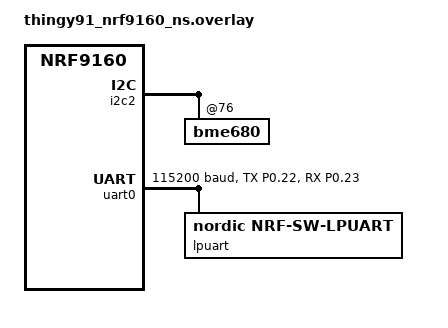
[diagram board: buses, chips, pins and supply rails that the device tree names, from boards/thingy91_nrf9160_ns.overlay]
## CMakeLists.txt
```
#
# Copyright (c) 2022 Nordic Semiconductor ASA
#
# SPDX-License-Identifier: LicenseRef-Nordic-5-Clause
#

cmake_minimum_required(VERSION 3.20.0)

find_package(Zephyr REQUIRED HINTS $ENV{ZEPHYR_BASE})
project(nrf_cloud_multi_service)
zephyr_compile_definitions(PROJECT_NAME=${PROJECT_NAME})

# Include certs files if enabled.
zephyr_include_directories_ifdef(CONFIG_NRF_CLOUD_PROVISION_CERTIFICATES certs)

# NORDIC SDK APP START
target_sources(app PRIVATE src/main.c)
target_sources(app PRIVATE src/application.c)
target_sources(app PRIVATE src/cloud_connection.c)
target_sources(app PRIVATE src/message_queue.c)
target_sources(app PRIVATE src/temperature.c)
target_sources(app PRIVATE src/fota_support.c)
target_sources(app PRIVATE src/led_control.c)
target_sources(app PRIVATE src/ble.c)
if(CONFIG_LOCATION_TRACKING)
target_sources(app PRIVATE src/location_tracking.c)
endif()

if(CONFIG_COAP_SHADOW)
target_sources(app PRIVATE src/shadow_support_coap.c)
endif()

if(CONFIG_COAP_FOTA)
target_sources(app PRIVATE src/fota_support_coap.c)
endif()

# Include modem-specific features if supported
if(CONFIG_NRF_MODEM_LIB)
	target_sources(app PRIVATE src/at_commands.c)
endif()

# NORDIC SDK APP END

zephyr_include_directories(src)
```

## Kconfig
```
#
# Copyright (c) 2022 Nordic Semiconductor ASA
#
# SPDX-License-Identifier: LicenseRef-Nordic-5-Clause
#

menu "UDP Sample Settings"

config UDP_DATA_UPLOAD_SIZE_BYTES
	int "Number of bytes transmitted to the server"
	default 10

config UDP_DATA_UPLOAD_FREQUENCY_SECONDS
	int "How often data is transmitted to the server"
	default 900

config UDP_SERVER_ADDRESS_STATIC
	string "UDP server IP address"
	default "8.8.8.8"

config UDP_SERVER_PORT
	int "UDP server port number"
	default "2469"

config UDP_PSM_ENABLE
	bool "Enable LTE Power Saving Mode"
	default y

config UDP_EDRX_ENABLE
	bool "Enable LTE enhanced Discontinuous Reception"

config UDP_RAI_ENABLE
	bool "Enable LTE Release Assistance Indication"

endmenu

module = UDP
module-str = UDP sample



menu "Multi Service Sample Settings"

config APP_VERSION
	string "Multi Service Sample version"
	default "1.0.0"

config CLOUD_CONNECTION_RETRY_TIMEOUT_SECONDS
	int "Cloud connection retry timeout (seconds)"
	default 30
	help
	  If connecting to nRF Cloud takes longer than this timeout, it will be
	  reattempted.

config CLOUD_READY_TIMEOUT_SECONDS
	int "Cloud readiness timeout (seconds)"
	default 600
	help
	  If the connection to nRF Cloud does not become ready within this
	  timeout, the sample will reset its connection and try again.

config DATE_TIME_ESTABLISHMENT_TIMEOUT_SECONDS
	int "Modem date and time establishment timeout (seconds)"
	default 300
	help
	  The sample will wait this many seconds for the modem to determine the
	  current date and time before giving up and moving on.

config APPLICATION_THREAD_STACK_SIZE
	int "Application Thread Stack Size (bytes)"
	default 2048
	help
	  Sets the stack size (in bytes) for the application thread of the
	  sample.

config CONNECTION_THREAD_STACK_SIZE
	int "Connection Thread Stack Size (bytes)"
	default 2048
	help
	  Sets the stack size (in bytes) for the connection thread of the
	  sample.

config MESSAGE_THREAD_STACK_SIZE
	int "Message Queue Thread Stack Size (bytes)"
	default 2048
	help
	  Sets the stack size (in bytes) for the message queue processing
	  thread of the sample.

config LED_THREAD_STACK_SIZE
	int "LED Thread Stack Size (bytes)"
	default 1024
	help
	  Sets the stack size (in bytes) for the LED thread.

config MAX_OUTGOING_MESSAGES
	int "Outgoing message maximum"
	default 50
	help
	  Sets the maximum number of device messages which may be enqueued
	  before further messages are dropped.
	  Increasing this value may require an increase to CONFIG_HEAP_MEM_POOL_SIZE.

config MAX_CONSECUTIVE_SEND_FAILURES
	int "Max outgoing consecutive send failures"
	default 5
	help
	  Sets the maximum number of device messages which may fail to send
	  before a connection reset and cooldown is triggered.

config CONSECUTIVE_SEND_FAILURE_COOLDOWN_SECONDS
	int "Cooldown after max consecutive send failures exceeded"
	default 10
	help
	  If a connection reset is triggered by too many failed device
	  messages, the sample will wait this long (in seconds) before trying
	  again.

config SENSOR_SAMPLE_INTERVAL_SECONDS
	int "Sensor sampling interval (seconds)"
	default 60
	help
	  Sets the time to wait between each sensor sample.

menuconfig LOCATION_TRACKING
	bool "Location tracking service"
	default y
	help
	  Uses GNSS, LTE, and/or Wi-Fi information to determine and report device
	  location.

if LOCATION_TRACKING

config LOCATION_TRACKING_SAMPLE_INTERVAL_SECONDS
	int "Location sampling interval (seconds)"
	default 60
	help
	  Sets the location sampling interval in seconds.

config LOCATION_TRACKING_GNSS
	bool "Use GNSS method for location tracking"
	default y
	depends on LOCATION_METHOD_GNSS
	help
	  Disable all location tracking methods to completely disable location tracking.

config LOCATION_TRACKING_CELLULAR
	bool "Use cellular method for location tracking"
	default y
	depends on LOCATION_METHOD_CELLULAR
	help
	  Disable all location tracking methods to completely disable location tracking.

config LOCATION_TRACKING_WIFI
	bool "Use Wi-Fi method for location tracking"
	default n
	depends on LOCATION_METHOD_WIFI
	help
	  Requires the use of an nRF7002 companion chip.
	  Disable all location tracking methods to completely disable location tracking.

endif

config TEMP_DATA_USE_SENSOR
	bool "Use genuine temperature data"
	depends on BOARD_THINGY91_NRF9160_NS
	default y if BOARD_THINGY91_NRF9160_NS
	select SENSOR
	select BME680
	help
	  Sets whether to take genuine temperature measurements from a
	  connected BME680 sensor, or just simulate sensor data.

config TEMP_TRACKING
	bool "Track temperature"
	default y
	help
	  Sets whether to take temperature measurements.

config TEMP_ALERT_LIMIT
	int "Temperature limit to send alert"
	default 30
	help
	  Sets the temperature in degrees C over which a temperature alert will
	  be sent to the cloud.

choice
	prompt "LED indication"
	default LED_INDICATION_PWM if BOARD_THINGY91_NRF9160_NS
	default LED_INDICATION_GPIO if BOARD_NRF9160DK_NRF9160_NS || BOARD_NRF9161DK_NRF9161_NS || $(dt_compat_enabled,gpio-leds)
	default LED_INDICATION_DISABLED

	config LED_INDICATION_PWM
		select LED
		select LED_PWM
		select PWM
		bool "Enable LED indication using the pwm-leds driver"

	config LED_INDICATION_GPIO
		select LED
		select LED_GPIO
		bool "Enable LED indication using the gpio-leds driver"

	config LED_INDICATION_DISABLED
		bool "Disable LED indication"
endchoice

choice
	prompt "LED indication LED type"
	depends on !LED_INDICATION_DISABLED
	default LED_INDICATOR_RGB if BOARD_THINGY91_NRF9160_NS && LED_INDICATION_PWM
	default LED_INDICATOR_4LED if !LED_INDICATION_DISABLED
	default LED_INDICATOR_NONE

	config LED_INDICATOR_RGB
		depends on LED_INDICATION_PWM
		bool "A single RGB LED"

	config LED_INDICATOR_4LED
		depends on !LED_INDICATION_DISABLED
		bool "Four binary LEDs"

	config LED_INDICATOR_NONE
		depends on LED_INDICATION_DISABLED
		bool "No indicator LEDs"

endchoice

config LED_VERBOSE_INDICATION
	depends on !LED_INDICATION_DISABLED
	bool "Enables extra LED status indications"
	default y

config LED_CONTINUOUS_INDICATION
	depends on !LED_INDICATION_DISABLED
	bool "Show an idle pattern instead of turning LEDs off"
	default y

config GNSS_FIX_TIMEOUT_SECONDS
	int "GNSS Fix timeout"
	default 40
	help
	  On each location sample, try for this long to achieve a GNSS fix
	  before falling back to cellular positioning.
	  Set this to 20 or so seconds below the sensor sample interval so
	  that there is time left over to perform cellular positioning.
	  Otherwise, location samples may occur at a longer interval than
	  requested.

config TEST_COUNTER
	bool "Sets whether the test counter is enabled"

config AT_CMD_REQUESTS
	depends on !NRF_CLOUD_COAP
	bool "Enables remote execution of AT commands using device messages"
	default y

config AT_CMD_REQUEST_RESPONSE_BUFFER_LENGTH
	int "Max length (in bytes) for Modem responses during AT command requests"
	help
	  Responses to modem AT commands are stored in a buffer of this length before being sent to
	  nRF Cloud. If a response from the modem exceeds this length, it will be dropped, and an
	  error code sent in its place (-NRF_E2BIG). Cannot be less than 40 bytes.
	default 200

if NRF_CLOUD_COAP

menuconfig COAP_FOTA
	bool "FOTA service when using CoAP to connect to nRF Cloud"
	select FOTA_DOWNLOAD
	select FOTA_DOWNLOAD_PROGRESS_EVT
	select IMG_ERASE_PROGRESSIVELY
	select DFU_TARGET
	select DOWNLOAD_CLIENT
	select REBOOT
	select CJSON_LIB
	select SETTINGS
	default y

if COAP_FOTA

config COAP_FOTA_DL_TIMEOUT_MIN
	int "The time (minutes) allotted for a FOTA download to complete"
	default 15
	help
	  If the FOTA download does not complete in the allotted time,
	  the download will be cancelled and the job status will be
	  set as failed.

config COAP_FOTA_USE_NRF_CLOUD_SETTINGS_AREA
	bool "Use the same settings area as the nRF Cloud FOTA library"
	default y
	help
	  Using the same settings area as the nRF Cloud FOTA library will
	  allow this sample to perform application-FOTA updates to applications
	  built with CONFIG_NRF_CLOUD_FOTA enabled.

config COAP_FOTA_SETTINGS_NAME
	depends on !COAP_FOTA_USE_NRF_CLOUD_SETTINGS_AREA
	string "Settings identifier for the COAP FOTA sample"
	default "coap_fota_sample"
	help
	  The root settings identifier for this application.
	  For application-FOTA, this value should also be found in your target application
	  so that the FOTA status can be properly reported to nRF Cloud.

config COAP_FOTA_SETTINGS_KEY_PENDING_JOB
	depends on !COAP_FOTA_USE_NRF_CLOUD_SETTINGS_AREA
	string "Settings item key for pending FOTA job info"
	default "pending_job"
	help
	  The settings item key where pending FOTA job info will be stored.
	  For application-FOTA, this value should also be found in your target application
	  so that the FOTA status can be properly reported to nRF Cloud.

config COAP_FOTA_JOB_CHECK_RATE_MINUTES
	int "FOTA job check interval (minutes)"
	default 60
	help
	  Sets the time to wait between each request to get any pending FOTA job.

config COAP_FOTA_THREAD_STACK_SIZE
	int "CoAP FOTA Thread Stack Size (bytes)"
	default 2048
	help
	  Sets the stack size (in bytes) for the CoAP FOTA thread of the
	  sample.

endif

menuconfig COAP_SHADOW
	bool "Updating shadow service"
	default y
	help
	  Updates the shadow with device information. Checks for a shadow
	  delta periodically and processes it if received.

if COAP_SHADOW

config COAP_SHADOW_CHECK_RATE_SECONDS
	int "Shadow job check interval (seconds)"
	default 300
	help
	  Sets the time to wait between each request to get any change to the
	  device shadow.

config COAP_SHADOW_THREAD_STACK_SIZE
	int "CoAP Shadow Thread Stack Size (bytes)"
	default 3072
	help
	  Sets the stack size (in bytes) for the CoAP shadow thread of the
	  sample.

endif

endif

endmenu

if NRF_CLOUD_MQTT
module-str = MQTT Multi Service
endif
if NRF_CLOUD_COAP
module-str = CoAP Multi Service
endif
module = MULTI_SERVICE
source "${ZEPHYR_BASE}/subsys/logging/Kconfig.template.log_config"

menu "Zephyr Kernel"
source "Kconfig.zephyr"
endmenu
```

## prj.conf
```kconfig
#
# Copyright (c) 2022 Nordic Semiconductor ASA
#
# SPDX-License-Identifier: LicenseRef-Nordic-5-Clause
#

# Log level
# For more verbose and detailed log output, set the log level to
# CONFIG_MULTI_SERVICE_LOG_LEVEL_DBG=y instead.
CONFIG_MULTI_SERVICE_LOG_LEVEL_INF=y

# General config
CONFIG_EVENTS=y
CONFIG_PICOLIBC_IO_FLOAT=y
CONFIG_RESET_ON_FATAL_ERROR=y
CONFIG_NCS_SAMPLES_DEFAULTS=y

# LED indication
# Uncomment these to minimize LED state indication when power savings are necessary
# CONFIG_LED_VERBOSE_INDICATION=n
# CONFIG_LED_CONTINUOUS_INDICATION=n

# Or, uncomment this to completely disable LED state indication
# CONFIG_LED_INDICATION_DISABLED=y

# Improved Logging
# CONFIG_LOG_MODE_DEFERRED allows logging from multiple threads simultaneously without creating
# splintered log entries, at the cost of needing a buffer for storing logs.
CONFIG_LOG_MODE_DEFERRED=y

# CONFIG_LOG_BUFFER_SIZE is the aforementioned buffer. A size of 4096 bytes is useful for debugging
# and prototyping, but is probably more than necessary for production-ready firmware.
CONFIG_LOG_BUFFER_SIZE=4096

# Heap and stacks
CONFIG_AT_MONITOR_HEAP_SIZE=1024
# Extended memory heap size needed both for PGPS and for encoding JSON-based nRF Cloud Device Messages.
CONFIG_HEAP_MEM_POOL_SIZE=24576
CONFIG_SYSTEM_WORKQUEUE_STACK_SIZE=3072

# Enable Networking and Connection Manager.
CONFIG_NETWORKING=y
CONFIG_NET_SOCKETS=y
CONFIG_NET_SOCKETS_OFFLOAD=y
CONFIG_NET_MGMT_EVENT_STACK_SIZE=2048
CONFIG_NET_CONNECTION_MANAGER_MONITOR_STACK_SIZE=1024
CONFIG_MAIN_STACK_SIZE=2048

# Enable LTE Connectivity using Connection Manager
CONFIG_NET_IPV4=y
CONFIG_NET_IPV6=y
CONFIG_NET_IPV6_NBR_CACHE=n
CONFIG_NET_IPV6_MLD=n
CONFIG_NET_CONNECTION_MANAGER=y
CONFIG_LTE_CONNECTIVITY=y
CONFIG_NRF_MODEM_LIB_ON_FAULT_APPLICATION_SPECIFIC=y
# Enable power savings mode
CONFIG_LTE_PSM_REQ=y

# Modem library
CONFIG_NRF_MODEM_LIB=y

# AT commands interface
CONFIG_UART_INTERRUPT_DRIVEN=y
CONFIG_AT_HOST_LIBRARY=y

# nRF Cloud
CONFIG_NRF_CLOUD_MQTT=y # This also enables FOTA by implicitly setting CONFIG_NRF_CLOUD_FOTA=y

# MQTT
CONFIG_MQTT_KEEPALIVE=120

# MCUBOOT - Needed by FOTA
CONFIG_BOOTLOADER_MCUBOOT=y
CONFIG_IMG_MANAGER=y
CONFIG_MCUBOOT_IMG_MANAGER=y
CONFIG_STREAM_FLASH_ERASE=y

# Location Services configuration
CONFIG_LOCATION=y
CONFIG_LOCATION_METHOD_GNSS=y
CONFIG_LOCATION_METHOD_CELLULAR=n
CONFIG_NRF_CLOUD_AGNSS=n
CONFIG_NRF_CLOUD_LOCATION=y
CONFIG_MODEM_INFO=y
CONFIG_MODEM_INFO_ADD_NETWORK=y
CONFIG_NRF_CLOUD_PGPS=n
CONFIG_NRF_CLOUD_PGPS_REPLACEMENT_THRESHOLD=4
CONFIG_NRF_CLOUD_PGPS_REQUEST_UPON_INIT=y

# Date Time lib - Used by PGPS and main application
CONFIG_DATE_TIME=y

# LTE link control - used by PGPS and main application
CONFIG_LTE_LINK_CONTROL=y
CONFIG_LTE_NETWORK_MODE_LTE_M_GPS=y

# Settings - used by nRF Cloud library and PGPS
CONFIG_SETTINGS=y
CONFIG_SETTINGS_FCB=y
CONFIG_FCB=y

# Download Client - used by FOTA and PGPS
CONFIG_DOWNLOAD_CLIENT=y
CONFIG_DOWNLOAD_CLIENT_HTTP_FRAG_SIZE_1024=y
CONFIG_DOWNLOAD_CLIENT_STACK_SIZE=4096
CONFIG_DOWNLOAD_CLIENT_BUF_SIZE=2300
CONFIG_DOWNLOAD_CLIENT_MAX_HOSTNAME_SIZE=128

# Flash - Used by FOTA and PGPS
CONFIG_FLASH=y
CONFIG_FLASH_PAGE_LAYOUT=y
CONFIG_FLASH_MAP=y
CONFIG_STREAM_FLASH=y
CONFIG_MPU_ALLOW_FLASH_WRITE=y
CONFIG_PM_EXTERNAL_FLASH_MCUBOOT_SECONDARY=n
CONFIG_NRF_CLOUD_ALERT=y
CONFIG_NRF_CLOUD_LOG_DIRECT=y
CONFIG_NRF_CLOUD_LOG_BACKEND=y
CONFIG_NRF_CLOUD_LOG_OUTPUT_LEVEL=2
CONFIG_NRF_CLOUD_SEND_DEVICE_STATUS=y
CONFIG_NRF_CLOUD_SEND_DEVICE_STATUS_NETWORK=y
CONFIG_NRF_CLOUD_SEND_DEVICE_STATUS_SIM=y


## PSM
CONFIG_UDP_PSM_ENABLE=y
CONFIG_LTE_PSM_REQ_RPTAU="00100001"
CONFIG_LTE_PSM_REQ_RAT="00000000"

## eDRX
CONFIG_UDP_EDRX_ENABLE=n
CONFIG_LTE_EDRX_REQ_VALUE_LTE_M="1001"

## RAI
CONFIG_UDP_RAI_ENABLE=n
CONFIG_LTE_RAI_REQ_VALUE="4"

CONFIG_UDP_SERVER_ADDRESS_STATIC="X.X.X.X"
CONFIG_UDP_SERVER_PORT=XXXXX
CONFIG_UDP_DATA_UPLOAD_FREQUENCY_SECONDS=120
CONFIG_MODEM_ANTENNA_AT_MAGPIO="AT%XMAGPIO=1,1,1,7,1,746,803,2,698,748,2,1710,2200,3,824,894,4,880,960,5,791,849,7,1565,1586"
CONFIG_MODEM_ANTENNA_AT_COEX0="AT%XCOEX0=1,1,1565,1586"
#CONFIG_NEWLIB_LIBC_MIN_REQUIRED_HEAP_SIZE=2048
CONFIG_LED_INDICATION_DISABLED=y
#CONFIG_POWER_SAVING_MODE_ENABLE=y
#CONFIG_TFM_PROFILE_TYPE_MINIMAL=n


# Enable Bluetooth stack and libraries
CONFIG_BT=y
CONFIG_BT_HCI=y
CONFIG_BT_WAIT_NOP=y
CONFIG_BT_CENTRAL=y
CONFIG_BT_GATT_CLIENT=y
CONFIG_BT_GATT_DM=y
CONFIG_BT_SCAN=y
CONFIG_BT_SCAN_FILTER_ENABLE=y
CONFIG_BT_SCAN_UUID_CNT=1
CONFIG_BT_OBSERVER=y
CONFIG_BT_FILTER_ACCEPT_LIST=y


CONFIG_NRF_MODEM_LIB=y
# Modem library fault handling
CONFIG_NRF_MODEM_LIB_ON_FAULT_APPLICATION_SPECIFIC=y

# Disable Modem traces, since we need UART1 for HCI
#CONFIG_NRF_MODEM_LIB_TRACE=n

CONFIG_USE_SEGGER_RTT=y
CONFIG_RTT_CONSOLE=y
CONFIG_LOG_BACKEND_RTT=y
CONFIG_AT_HOST_LIBRARY=n
CONFIG_NRF_MODEM_LIB_ON_FAULT_APPLICATION_SPECIFIC=y
CONFIG_DK_LIBRARY=y
# Modem library
CONFIG_NRF_MODEM_LIB=y
# Modem library fault handling
CONFIG_NRF_MODEM_LIB_ON_FAULT_APPLICATION_SPECIFIC=y

# Disable Modem traces, since we need UART1 for HCI
CONFIG_NRF_MODEM_LIB_TRACE=n

CONFIG_BT_SCAN_SHORT_NAME_CNT=4


CONFIG_NRF_SW_LPUART=y
CONFIG_NRF_SW_LPUART_INT_DRIVEN=y

CONFIG_UART_0_ASYNC=y
CONFIG_UART_0_INTERRUPT_DRIVEN=n
CONFIG_UART_0_NRF_HW_ASYNC=y
CONFIG_UART_0_NRF_HW_ASYNC_TIMER=2
CONFIG_BT_MAX_PAIRED=20
CONFIG_LOCATION_TRACKING_SAMPLE_INTERVAL_SECONDS=3600
```

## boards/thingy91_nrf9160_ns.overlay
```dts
/ {
	aliases {
		temp-sensor = &bme680;
	};
};

&i2c2 {
	bme680: bme680@76 {};
};


/ {
	chosen {
		zephyr,bt-uart=&lpuart;
	};
};

&uart0 {
	current-speed = <115200>;
	status = "okay";
	/delete-property/ hw-flow-control;

	pinctrl-0 = <&uart0_default_alt>;
	pinctrl-1 = <&uart0_sleep_alt>;
	pinctrl-names = "default", "sleep";
	lpuart: nrf-sw-lpuart {
		compatible = "nordic,nrf-sw-lpuart";
		status = "okay";
		req-pin = <24>;
		rdy-pin = <25>;
	};
};

&gpiote {
	interrupts = <49 NRF_DEFAULT_IRQ_PRIORITY>;
};

&uart1 {
	status = "disabled";
};

&pinctrl {
	uart0_default_alt: uart0_default_alt {
		group1 {
			psels = <NRF_PSEL(UART_TX, 0, 22)>, <NRF_PSEL(UART_RX, 0, 23)>;
		};
	};

	uart0_sleep_alt: uart0_sleep_alt {
		group1 {
			psels = <NRF_PSEL(UART_TX, 0, 22)>, <NRF_PSEL(UART_RX, 0, 23)>;
			low-power-enable;
		};
	};
};
```

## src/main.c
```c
/* Copyright (c) 2023 Nordic Semiconductor ASA
 *
 * SPDX-License-Identifier: LicenseRef-Nordic-5-Clause
 */

#include <zephyr/kernel.h>
#include <stdio.h>
#include <zephyr/logging/log.h>
#include "application.h"
#include "cloud_connection.h"
#include "message_queue.h"
#include "led_control.h"
#include "fota_support_coap.h"
#include "shadow_support_coap.h"

LOG_MODULE_REGISTER(main, CONFIG_MULTI_SERVICE_LOG_LEVEL);

/* Here, we start the various threads that our application will run in */

//#ifndef CONFIG_LED_INDICATION_DISABLED
/* Define, and automatically start the LED animation thread. See led_control.c */
//K_THREAD_DEFINE(led_thread, CONFIG_LED_THREAD_STACK_SIZE, led_animation_thread_fn,
//		NULL, NULL, NULL, 0, 0, 0);
//#endif

/* Define, and automatically start the main application thread. See application.c */
K_THREAD_DEFINE(app_thread, CONFIG_APPLICATION_THREAD_STACK_SIZE, main_application_thread_fn,
		NULL, NULL, NULL, 0, 0, 0);

/* Define, and automatically start the message queue thread. See message_queue.c */
K_THREAD_DEFINE(msg_thread, CONFIG_MESSAGE_THREAD_STACK_SIZE, message_queue_thread_fn,
		NULL, NULL, NULL, 0, 0, 0);

/* Define, and automatically start the cloud connection thread. See cloud_connection.c */
K_THREAD_DEFINE(con_thread, CONFIG_CONNECTION_THREAD_STACK_SIZE, cloud_connection_thread_fn,
		NULL, NULL, NULL, 0, 0, 0);

#if defined(CONFIG_NRF_CLOUD_COAP)
#if defined(CONFIG_COAP_FOTA)
/* Define, and automatically start the CoAP FOTA check thread. See fota_support_coap.c */
K_THREAD_DEFINE(coap_fota, CONFIG_COAP_FOTA_THREAD_STACK_SIZE, coap_fota_thread_fn,
		NULL, NULL, NULL, 0, 0, 0);
#endif

#if defined(CONFIG_COAP_SHADOW)
/* Define, and automatically start the CoAP shadow check thread. See shadow_support_coap.c */
K_THREAD_DEFINE(coap_shadow, CONFIG_COAP_SHADOW_THREAD_STACK_SIZE, coap_shadow_thread_fn,
		NULL, NULL, NULL, 0, 0, 0);
#endif
#endif /* CONFIG_NRF_CLOUD_COAP */

/* main() is called from the main thread, which defaults to priority zero,
 * but for illustrative purposes we don't use it. main_application() could be called directly
 * from this function, rather than given its own dedicated thread.
 */
int main(void)
{
	const char *protocol;

	if (IS_ENABLED(CONFIG_NRF_CLOUD_MQTT)) {
		protocol = "MQTT";
	} else if (IS_ENABLED(CONFIG_NRF_CLOUD_COAP)) {
		protocol = "CoAP";
	}

	LOG_INF("nRF Cloud multi-service sample has started, version: %s, protocol: %s",
		CONFIG_APP_VERSION, protocol);

	return 0;
}
```

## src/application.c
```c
/* Copyright (c) 2023 Nordic Semiconductor ASA
 *
 * SPDX-License-Identifier: LicenseRef-Nordic-5-Clause
 */

#include <zephyr/kernel.h>
#include <zephyr/logging/log.h>
#include <zephyr/logging/log_ctrl.h>
#include <date_time.h>
#include <stdio.h>
#include <net/nrf_cloud.h>
#include <net/nrf_cloud_codec.h>
#include <net/nrf_cloud_log.h>
#include <net/nrf_cloud_alert.h>
#if defined(CONFIG_NRF_CLOUD_COAP)
#include <net/nrf_cloud_coap.h>
#endif
#if defined(CONFIG_LOCATION_TRACKING)
#include <modem/location.h>
#include "location_tracking.h"
#endif
#include "application.h"
#include "temperature.h"
#include "cloud_connection.h"
#include "message_queue.h"
#include "led_control.h"
#include "at_commands.h"



#include <zephyr/net/socket.h>
#include <zephyr/bluetooth/bluetooth.h>
#include <zephyr/bluetooth/gatt.h>
#include <zephyr/bluetooth/uuid.h>
#include <bluetooth/gatt_dm.h>
#include <bluetooth/scan.h>

LOG_MODULE_REGISTER(application, CONFIG_MULTI_SERVICE_LOG_LEVEL);

/* Timer used to time the sensor sampling rate. */
static K_TIMER_DEFINE(sensor_sample_timer, NULL, NULL);

/* AT command request error handling */
#define AT_CMD_REQUEST_ERR_FORMAT "Error while processing AT command request: %d"
#define AT_CMD_REQUEST_ERR_MAX_LEN (sizeof(AT_CMD_REQUEST_ERR_FORMAT) + 20)
BUILD_ASSERT(CONFIG_AT_CMD_REQUEST_RESPONSE_BUFFER_LENGTH >= AT_CMD_REQUEST_ERR_MAX_LEN,
	     "Not enough AT command response buffer for printing error events.");

/* Temperature alert limits. */
#define TEMP_ALERT_LIMIT ((float)CONFIG_TEMP_ALERT_LIMIT)
#define TEMP_ALERT_HYSTERESIS 1.5f
#define TEMP_ALERT_LOWER_LIMIT (TEMP_ALERT_LIMIT - TEMP_ALERT_HYSTERESIS)

#define UDP_IP_HEADER_SIZE 28


static int client_fd;
static struct sockaddr_storage host_addr;
static struct k_work_delayable server_transmission_work;
int16_t bat_voltage = 0;
int16_t modem_rsrp = 0;
int64_t timestamp;

struct subscribed_peer subscribed_peers[20];
double temp;

static int server_init(void)
{
	struct sockaddr_in *server4 = ((struct sockaddr_in *)&host_addr);

	server4->sin_family = AF_INET;
	server4->sin_port = htons(CONFIG_UDP_SERVER_PORT);

	inet_pton(AF_INET, CONFIG_UDP_SERVER_ADDRESS_STATIC,
		  &server4->sin_addr);


	return 0;
}

static void server_disconnect(void)
{
	(void)close(client_fd);
}


static int count_bond(void)
{
	//int i;
	int i;
	for (i = 0;i < 20; i++) {
		if (!bt_addr_le_cmp(&subscribed_peers[i].addr, BT_ADDR_LE_NONE)) {
			break;
		}
	//	LOG_INF("bonds: %d\n", j);

	}

	return i;
}

static int server_connect(void)
{
	int err;

	client_fd = socket(AF_INET, SOCK_DGRAM, IPPROTO_UDP);
	if (client_fd < 0) {
		LOG_ERR("Failed to create UDP socket: %d\n", errno);
		err = -errno;
		goto error;
	}

	err = connect(client_fd, (struct sockaddr *)&host_addr,
		      sizeof(struct sockaddr_in));
	if (err < 0) {
		LOG_ERR("Connect failed : %d\n", errno);
		goto error;
	}

	return 0;

error:
	server_disconnect();

	return err;
}



static void server_transmission_work_fn(struct k_work *work)
{
	int err;

	LOG_INF("Transmitting UDP/IP payload of %d bytes to the ",
	       CONFIG_UDP_DATA_UPLOAD_SIZE_BYTES + UDP_IP_HEADER_SIZE);
	LOG_INF("IP address %s, port number %d\n",
	       CONFIG_UDP_SERVER_ADDRESS_STATIC,
	       CONFIG_UDP_SERVER_PORT);

	int bonds=0;
	bonds = count_bond();
	LOG_INF("Num of bonds %d  ",bonds);

	err = modem_info_short_get(MODEM_INFO_BATTERY, &bat_voltage);
	if (err != sizeof(bat_voltage)) {
		LOG_ERR("modem_info_short_get, error: %d", err);
	}
	else
	{
		LOG_INF("Voltage is %d ", (int)bat_voltage);
		subscribed_peers[0].battery_voltage = bat_voltage;
	}
	err = modem_info_short_get(MODEM_INFO_RSRP, &modem_rsrp);
	if (err != sizeof(modem_rsrp)) {
		LOG_ERR("modem_info_short_get, error: %d", err);
	}
	else
	{
		LOG_INF("modem_rsrp is %d ", (int)modem_rsrp);
		subscribed_peers[0].rssi_value = modem_rsrp;
	}

	if (get_temperature(&temp) == 0) 
	{
		LOG_INF("Temperature is %d degrees C", (int)temp);
		subscribed_peers[0].temp_celsius = temp;

	}

	for (int i = 0; i < bonds; i++) 
	{
			if(i ==0)
			{
				int64_t uptime;
				uptime = k_uptime_get();
				//date_time_uptime_to_unix_time_ms(&uptime);
				subscribed_peers[i].has_timestamp = true;
				subscribed_peers[i].timestamp = uptime;

			}
			LOG_INF("Lenght is %d bytes ",sizeof(subscribed_peers[i]));
			err = send(client_fd, (struct subscribed_peer*)&subscribed_peers[i], sizeof(subscribed_peers[i]), 0);
			if (err < 0) 
			{
				LOG_ERR("Failed to transmit UDP packet, %d\n", errno);
			}
	}


	k_work_schedule(&server_transmission_work,
			K_SECONDS(CONFIG_UDP_DATA_UPLOAD_FREQUENCY_SECONDS));
}



/**
 * @brief Construct a device message object with automatically generated timestamp
 *
 * The resultant JSON object will be conformal to the General Message Schema described in the
 * application-protocols repo:
 *
 * https://github.com/nRFCloud/application-protocols
 *
 * @param msg - The object to contain the message
 * @param appid - The appId for the device message
 * @param msg_type - The messageType for the device message
 * @return int - 0 on success, negative error code otherwise.
 */
static int create_timestamped_device_message(struct nrf_cloud_obj *const msg,
					     const char *const appid,
					     const char *const msg_type)
{
	int err;
	int64_t timestamp;

	/* Acquire timestamp */
	err = date_time_now(&timestamp);
	if (err) {
		LOG_ERR("Failed to obtain current time, error %d", err);
		return -ETIME;
	}

	/* Create message object */
	err = nrf_cloud_obj_msg_init(msg, appid,
				     IS_ENABLED(CONFIG_NRF_CLOUD_COAP) ? NULL : msg_type);
	if (err) {
		LOG_ERR("Failed to initialize message with appid %s and msg type %s",
			appid, msg_type);
		return err;
	}

	/* Add timestamp to message object */
	err = nrf_cloud_obj_ts_add(msg, timestamp);
	if (err) {
		LOG_ERR("Failed to add timestamp to data message with appid %s and msg type %s",
			appid, msg_type);
		nrf_cloud_obj_free(msg);
		return err;
	}

	return 0;
}

/**
 * @brief Transmit a collected sensor sample to nRF Cloud.
 *
 * @param sensor - The name of the sensor which was sampled.
 * @param value - The sampled sensor value.
 * @return int - 0 on success, negative error code otherwise.
 */
static int send_sensor_sample(const char *const sensor, double value)
{
	int ret;

	MSG_OBJ_DEFINE(msg_obj);

	/* Create a timestamped message container object for the sensor sample. */
	ret = create_timestamped_device_message(&msg_obj, sensor,
						NRF_CLOUD_JSON_MSG_TYPE_VAL_DATA);
	if (ret) {
		return -EINVAL;
	}

	/* Populate the container object with the sensor value. */
	ret = nrf_cloud_obj_num_add(&msg_obj, NRF_CLOUD_JSON_DATA_KEY, value, false);
	if (ret) {
		LOG_ERR("Failed to append value to %s sample container object ",
			sensor);
		nrf_cloud_obj_free(&msg_obj);
		return -ENOMEM;
	}

	/* Send the sensor sample container object as a device message. */
	return send_device_message(&msg_obj);
}

#if defined(CONFIG_LOCATION_TRACKING)
/**
 * @brief Transmit a collected GNSS sample to nRF Cloud.
 *
 * @param loc_gnss - GNSS location data.
 * @return int - 0 on success, negative error code otherwise.
 */
static int send_gnss(const struct location_event_data * const loc_gnss)
{
	int ret;

	if (!loc_gnss || (loc_gnss->method != LOCATION_METHOD_GNSS)) {
		return -EINVAL;
	}

	struct nrf_cloud_gnss_data gnss_pvt = {
		.type = NRF_CLOUD_GNSS_TYPE_PVT,
		.ts_ms = NRF_CLOUD_NO_TIMESTAMP,
		.pvt = {
			.lon		= loc_gnss->location.longitude,
			.lat		= loc_gnss->location.latitude,
			.accuracy	= loc_gnss->location.accuracy,
			.has_alt	= 0,
			.has_speed	= 0,
			.has_heading	= 0
		}
	};
	MSG_OBJ_DEFINE(msg_obj);

	/* Add the timestamp */
	(void)date_time_now(&gnss_pvt.ts_ms);

	/* Encode the location data into a device message */
	ret = nrf_cloud_obj_gnss_msg_create(&msg_obj, &gnss_pvt);

	if (ret == 0) {
		/* Send the location message */
		ret = send_device_message(&msg_obj);
	}

	return ret;
}

/**
 * @brief Callback to receive periodic location updates from location_tracking.c and forward them
 * to nRF Cloud.
 *
 * Note that cellular positioning (MCELL/Multi-Cell and SCELL/Single-Cell) is sent to nRF
 * Cloud automatically (since the Location library and nRF Cloud must work together to
 * determine them in the first place). GNSS positions, on the other hand, must be
 * sent manually, since they are determined entirely on-device.
 *
 * @param location_data - The received location update.
 *
 */
static void on_location_update(const struct location_event_data * const location_data)
{
	LOG_INF("Location Updated: %.06f N %.06f W, accuracy: %.01f m, Method: %s",
		location_data->location.latitude,
		location_data->location.longitude,
		location_data->location.accuracy,
		location_method_str(location_data->method));

	/* If the position update was derived using GNSS, send it onward to nRF Cloud. */
	if (location_data->method == LOCATION_METHOD_GNSS) {
		LOG_INF("GNSS Position Update! Sending to nRF Cloud...");
		send_gnss(location_data);
	}
}
#endif /* CONFIG_LOCATION_TRACKING */

/**
 * @brief Receives general device messages from nRF Cloud, checks if they are AT command requests,
 * and performs them if so, transmitting the modem response back to nRF Cloud.
 *
 * Try sending {"appId":"MODEM", "messageType":"CMD", "data":"AT+CGMR"}
 * in the nRF Cloud Portal Terminal card.
 *
 * @param msg - The device message to check.
 */
static void handle_at_cmd_requests(const struct nrf_cloud_data *const dev_msg)
{
	char *cmd;
	struct nrf_cloud_obj msg_obj;
	int err = nrf_cloud_obj_input_decode(&msg_obj, dev_msg);

	if (err) {
		/* The message isn't JSON or otherwise couldn't be parsed. */
		LOG_DBG("A general topic device message of length %d could not be parsed.",
			dev_msg->len);
		return;
	}

	/* Confirm app ID and message type */
	err = nrf_cloud_obj_msg_check(&msg_obj, NRF_CLOUD_JSON_APPID_VAL_MODEM,
				      NRF_CLOUD_JSON_MSG_TYPE_VAL_CMD);
	if (err) {
		goto cleanup;
	}

	/* Get the command string */
	err = nrf_cloud_obj_str_get(&msg_obj, NRF_CLOUD_JSON_DATA_KEY, &cmd);
	if (err) {
		/* Missing or invalid command value will be treated as a blank command */
		cmd = "";
	}

	/* Execute the command and receive the result */
	char *response = execute_at_cmd_request(cmd);

	/* To re-use msg_obj for the response message we must first free its memory and
	 * reset its state.
	 * The cmd string will no longer be valid after msg_obj is freed.
	 */
	cmd = NULL;
	/* Free the object's allocated memory */
	err = nrf_cloud_obj_free(&msg_obj);
	if (err) {
		LOG_ERR("Failed to free AT CMD request");
		return;
	}

	/* Reset the object's state */
	err = nrf_cloud_obj_reset(&msg_obj);
	if (err) {
		LOG_ERR("Failed to reset AT CMD request message object for reuse");
		return;
	}

	err = create_timestamped_device_message(&msg_obj, NRF_CLOUD_JSON_APPID_VAL_MODEM,
						NRF_CLOUD_JSON_MSG_TYPE_VAL_DATA);
	if (err) {
		return;
	}

	/* Populate response with command result */
	err = nrf_cloud_obj_str_add(&msg_obj, NRF_CLOUD_JSON_DATA_KEY, response, false);
	if (err) {
		LOG_ERR("Failed to populate AT CMD response with modem response data");
		goto cleanup;
	}

	/* Send the response */
	err = send_device_message(&msg_obj);
	if (err) {
		LOG_ERR("Failed to send AT CMD request response, error: %d", err);
	}

	return;

cleanup:
	(void)nrf_cloud_obj_free(&msg_obj);
}

/** @brief Check whether temperature is acceptable.
 * If the device exceeds a temperature limit, send the temperature alert one time.
 * Once the temperature falls below a lower limit, re-enable the temperature alert
 * so it will be sent if limit is exceeded again.
 *
 * The difference between the two limits should be sufficient to prevent sending
 * new alerts if the temperature value oscillates between two nearby values.
 *
 * @param temp - The current device temperature.
 */
static void monitor_temperature(double temp)
{
	static bool temperature_alert_active;

	if ((temp > TEMP_ALERT_LIMIT) && !temperature_alert_active) {
		temperature_alert_active = true;
		(void)nrf_cloud_alert_send(ALERT_TYPE_TEMPERATURE, (float)temp,
					   "Temperature over limit!");
		LOG_INF("Temperature limit %f C exceeded: now %f C.",
			TEMP_ALERT_LIMIT, temp);
	} else if ((temp < TEMP_ALERT_LOWER_LIMIT) && temperature_alert_active) {
		temperature_alert_active = false;
		LOG_INF("Temperature now below limit: %f C.", temp);
	}
}

void main_application_thread_fn(void)
{
	if (IS_ENABLED(CONFIG_AT_CMD_REQUESTS)) {
		/* Register with connection.c to receive general device messages and check them for
		 * AT command requests.
		 */
		register_general_dev_msg_handler(handle_at_cmd_requests);
	}

	/* Wait for first connection before starting the application. */
	(void)await_cloud_ready(K_FOREVER);

	(void)nrf_cloud_alert_send(ALERT_TYPE_DEVICE_NOW_ONLINE, 0, NULL);

	/* Wait for the date and time to become known.
	 * This is needed both for location services and for sensor sample timestamping.
	 */
	LOG_INF("Waiting for modem to determine current date and time");
	if (!await_date_time_known(K_SECONDS(CONFIG_DATE_TIME_ESTABLISHMENT_TIMEOUT_SECONDS))) {
		LOG_WRN("Failed to determine valid date time. Proceeding anyways");
	} else {
		LOG_INF("Current date and time determined");
	}

	const char *protocol = "";

	if (IS_ENABLED(CONFIG_NRF_CLOUD_MQTT)) {
		protocol = "MQTT";
	} else if (IS_ENABLED(CONFIG_NRF_CLOUD_COAP)) {
		protocol = "CoAP";
	}
	nrf_cloud_log_init();
	nrf_cloud_log_control_set(CONFIG_NRF_CLOUD_LOG_OUTPUT_LEVEL);
	/* Send a direct log to the nRF Cloud web portal indicating the sample has started up. */
	(void)nrf_cloud_log_send(LOG_LEVEL_INF,
				 "nRF Cloud multi-service sample has started, "
				 "version: %s, protocol: %s",
				 CONFIG_APP_VERSION, protocol);

#if defined(CONFIG_LOCATION_TRACKING)
	/* Begin tracking location at the configured interval. */
	(void)start_location_tracking(on_location_update,
					CONFIG_LOCATION_TRACKING_SAMPLE_INTERVAL_SECONDS);
#endif
	int counter = 0;

	k_work_init_delayable(&server_transmission_work,
			      server_transmission_work_fn);


	int err = server_init();
	if (err) {
		LOG_ERR("Not able to initialize UDP server connection\n");
	//	return;
	}

	err = server_connect();
	if (err) {
		LOG_ERR("Not able to connect to UDP server\n");
	//	return;
	}
	ble_init();


	k_work_schedule(&server_transmission_work, K_NO_WAIT);

	/* Begin sampling sensors. */
	while (true) {
		/* Start the sensor sample interval timer.
		 * We use a timer here instead of merely sleeping the thread, because the
		 * application thread can be preempted by other threads performing long tasks
		 * (such as periodic location acquisition), and we want to account for these
		 * delays when metering the sample send rate.
		 */
		k_timer_start(&sensor_sample_timer,
			K_SECONDS(CONFIG_SENSOR_SAMPLE_INTERVAL_SECONDS), K_FOREVER);

		if (IS_ENABLED(CONFIG_TEMP_TRACKING)) {
			double temp = -1;

			if (get_temperature(&temp) == 0) {
				LOG_INF("Temperature is %d degrees C", (int)temp);
		//		(void)send_sensor_sample(NRF_CLOUD_JSON_APPID_VAL_TEMP, temp);
				subscribed_peers[0].temp_celsius = temp;

		//		monitor_temperature(temp);
			}
		}

		if (IS_ENABLED(CONFIG_TEST_COUNTER)) {
			LOG_INF("Sent test counter = %d", counter);
			(void)send_sensor_sample("COUNT", counter++);
		}

		/* Wait out any remaining time on the sample interval timer. */
		k_timer_status_sync(&sensor_sample_timer);
	}
}
```

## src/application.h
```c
/* Copyright (c) 2023 Nordic Semiconductor ASA
 *
 * SPDX-License-Identifier: LicenseRef-Nordic-5-Clause
 */
#include <zephyr/bluetooth/bluetooth.h>

#ifndef _APPLICATION_H_
#define _APPLICATION_H_

#if defined(CONFIG_NRF_CLOUD_MQTT)
#define MSG_OBJ_DEFINE(_obj_name) \
	NRF_CLOUD_OBJ_JSON_DEFINE(_obj_name);
#elif defined(CONFIG_NRF_CLOUD_COAP)
#define MSG_OBJ_DEFINE(_obj_name) \
	NRF_CLOUD_OBJ_COAP_CBOR_DEFINE(_obj_name);
#endif


struct TextMessage
  {
    //   char request_Type[100];
       unsigned int SenderId;                       /* unique client identifier */
       unsigned int RecipientId;                       /* unique client identifier */
	   double temperatureLocal;
	   unsigned int battLocal;                       /* unique client identifier */
   
       char message[42];                           /* text message */
	//   uint8_t m_hash[10];
  };


struct subscriber_data {
	uint8_t conn_count;
	uint8_t peer_count;
};

struct subscribed_peer {
	bt_addr_le_t addr;
	uint8_t protocol_version;
	bool has_illuminance;
	uint8_t counter;
	uint16_t battery_voltage;
	float temp_celsius;
	float humidity_percent;
	float moisture_percent;
	float illuminance;
	float rssi_value;
	bool has_timestamp;
	int64_t timestamp;
	float spare1;      
	float spare2;      
};


/**
 * @brief Main application -- Wait for valid connection, start location tracking, and then
 * periodically sample sensors and send them to nRF Cloud.
 */
void main_application_thread_fn(void);

#endif /* _APPLICATION_H_ */
```

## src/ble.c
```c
/*
 * Copyright (c) 2018 Nordic Semiconductor ASA
 *
 * SPDX-License-Identifier: LicenseRef-Nordic-5-Clause
 */

#include <zephyr/kernel.h>

#include <zephyr/bluetooth/bluetooth.h>
#include <zephyr/bluetooth/gatt.h>
#include <zephyr/bluetooth/uuid.h>
#include <bluetooth/gatt_dm.h>
#include <bluetooth/scan.h>

#include <dk_buttons_and_leds.h>
#include <zephyr/sys/byteorder.h>

#include <net/nrf_cloud.h>
#include <zephyr/logging/log.h>
#include "aggregator.h"

//LOG_MODULE_DECLARE(lte_ble_gw);
LOG_MODULE_REGISTER(lte_ble_gw, CONFIG_MULTI_SERVICE_LOG_LEVEL);

/* Thinghy advertisement UUID */
#define BT_UUID_THINGY_VAL \
	BT_UUID_128_ENCODE(0xef680100, 0x9b35, 0x4933, 0x9b10, 0x52ffa9740042)

#define BT_UUID_THINGY \
	BT_UUID_DECLARE_128(BT_UUID_THINGY_VAL)
/* Thingy service UUID */
#define BT_UUID_TMS_VAL \
	BT_UUID_128_ENCODE(0xef680400, 0x9b35, 0x4933, 0x9b10, 0x52ffa9740042)

#define BT_UUID_TMS \
	BT_UUID_DECLARE_128(BT_UUID_TMS_VAL)
		/* Thingy characteristic UUID */
#define BT_UUID_TOC_VAL \
	BT_UUID_128_ENCODE(0xef680403, 0x9b35, 0x4933, 0x9b10, 0x52ffa9740042)

#define BT_UUID_TOC \
	BT_UUID_DECLARE_128(BT_UUID_TOC_VAL)
extern void alarm(void);
#include "application.h"


#include <date_time.h>

void ble_init(void);
extern struct subscribed_peer subscribed_peers[CONFIG_BT_MAX_PAIRED];

bt_addr_le_t set_addr = {
	.type = 0,
	.a =  { {0xE9, 0xD6, 0xAF, 0x57, 0xD4, 0xEC} } ,
};

bt_addr_le_t addr = {
		.type		= BT_ADDR_LE_RANDOM,
		.a.val		= {0xba, 0xde, 0xba, 0x11, 0xca, 0xfe},
	};



static void reset_subscribers(void)
{
	for (size_t i = 1; i < 20; i++) {
		bt_addr_le_copy(&subscribed_peers[i].addr, BT_ADDR_LE_NONE);
	}
}

static uint8_t on_received(struct bt_conn *conn,
			struct bt_gatt_subscribe_params *params,
			const void *data, uint16_t length)
{
	if (length > 0) {
		LOG_INF("Orientation: %x", ((uint8_t *)data)[0]);
		struct sensor_data in_data;

		in_data.type = THINGY_ORIENTATION;
		in_data.length = 1;
		in_data.data[0] = ((uint8_t *)data)[0];

		if (aggregator_put(in_data) != 0) {
			LOG_ERR("Was not able to insert Thingy orientation data into aggregator");
		}
		/* If the thingy is upside down, trigger an alarm. */
		if (((uint8_t *)data)[0] == 3) {
			alarm();
		}

	} else {
		LOG_DBG("Orientation notification with 0 length");
	}
	return BT_GATT_ITER_CONTINUE;
}


bool find_adv_data(struct bt_data *data, void *user_data)
{
    if(data->type == 22)
	{

		int  subscriber  = (int)user_data;
		int oldCounter = subscribed_peers[subscriber].counter;
  		const uint8_t protocol_version = data->data[2] >> 4;
		subscribed_peers[subscriber].protocol_version = protocol_version;


  		uint8_t counter = data->data[3] & 0x0f;
		if(oldCounter==counter)
		{
			return true;
		}

		LOG_INF("Counter: %u", counter);
		subscribed_peers[subscriber].counter = counter;


// Some b-parasite versions have an (optional) illuminance sensor.
  		bool has_illuminance = data->data[2] & 0x1;
		subscribed_peers[subscriber].has_illuminance = has_illuminance;

		LOG_INF("Illuminance support: %u", has_illuminance);
  // Counter for deduplicating messages.

	// Battery voltage in millivolts.
  		uint16_t battery_millivolt = data->data[4] << 8 | data->data[5];
  		float battery_voltage = battery_millivolt / 1000.0f;
		LOG_INF("Battery voltage: %.2f", battery_voltage);
		subscribed_peers[subscriber].battery_voltage = battery_millivolt;

// Temperature in 1000 * Celsius (protocol v1) or 100 * Celsius (protocol v2).
  		float temp_celsius;
	//	uint16_t temp_millicelsius;
  		if (protocol_version == 1) {
    		uint16_t temp_millicelsius = data->data[6] << 8 | data->data[7];
    		temp_celsius = temp_millicelsius / 1000.0f;
  		} else {
    		int16_t temp_centicelsius = data->data[6] << 8 | data->data[7];
    		temp_celsius = temp_centicelsius / 100.0f;
  		}
		LOG_INF("Temp: %.2f", temp_celsius);
		subscribed_peers[subscriber].temp_celsius = temp_celsius;

// Relative air humidity in the range [0, 2^16).
  		uint16_t humidity = data->data[8] << 8 | data->data[9];
  		float humidity_percent = (100.0f * humidity) / (1 << 16);
		LOG_INF("Humidity: %.2f", humidity_percent);
		subscribed_peers[subscriber].humidity_percent = humidity_percent;

  // Relative soil moisture in [0 - 2^16).
  		uint16_t soil_moisture = data->data[10] << 8 | data->data[11];
  		float moisture_percent = (100.0f * soil_moisture) / (1 << 16);
		LOG_INF("Moisture: %.2f", moisture_percent);
		subscribed_peers[subscriber].moisture_percent = moisture_percent;

  // Ambient light in lux.
  		float illuminance = has_illuminance ? data->data[18] << 8 | data->data[19] : 0.0f;
		LOG_INF("Illuminance: %.2f", illuminance);
		subscribed_peers[subscriber].illuminance = illuminance;


		if(date_time_is_valid())
		{
			int64_t timestamp;
			date_time_now(&timestamp);
			LOG_INF("DateTime valid");
			subscribed_peers[subscriber].has_timestamp = true;
			subscribed_peers[subscriber].timestamp = timestamp;
		}
	
	}
    return true; // keep parsing
}

static void discovery_completed(struct bt_gatt_dm *disc, void *ctx)
{
	int err;

	/* Must be statically allocated */
	static struct bt_gatt_subscribe_params param = {
		.notify = on_received,
		.value = BT_GATT_CCC_NOTIFY,
	};

	const struct bt_gatt_dm_attr *chrc;
	const struct bt_gatt_dm_attr *desc;

	chrc = bt_gatt_dm_char_by_uuid(disc, BT_UUID_TOC);
	if (!chrc) {
		LOG_ERR("Missing Thingy orientation characteristic");
		goto release;
	}

	desc = bt_gatt_dm_desc_by_uuid(disc, chrc, BT_UUID_TOC);
	if (!desc) {
		LOG_ERR("Missing Thingy orientation char value descriptor");
		goto release;
	}

	param.value_handle = desc->handle,

	desc = bt_gatt_dm_desc_by_uuid(disc, chrc, BT_UUID_GATT_CCC);
	if (!desc) {
		LOG_ERR("Missing Thingy orientation char CCC descriptor");
		goto release;
	}

	param.ccc_handle = desc->handle;

	err = bt_gatt_subscribe(bt_gatt_dm_conn_get(disc), &param);
	if (err) {
		LOG_ERR("Subscribe failed (err %d)", err);
	}

release:
	err = bt_gatt_dm_data_release(disc);
	if (err) {
		LOG_ERR("Could not release discovery data, err: %d", err);
	}
}

static void discovery_service_not_found(struct bt_conn *conn, void *ctx)
{
	LOG_ERR("Thingy orientation service not found!");
}

static void discovery_error_found(struct bt_conn *conn, int err, void *ctx)
{
	LOG_ERR("The discovery procedure failed, err %d", err);
}

static struct bt_gatt_dm_cb discovery_cb = {
	.completed = discovery_completed,
	.service_not_found = discovery_service_not_found,
	.error_found = discovery_error_found,
};

static void connected(struct bt_conn *conn, uint8_t conn_err)
{
	int err;
	char addr[BT_ADDR_LE_STR_LEN];

	bt_addr_le_to_str(bt_conn_get_dst(conn), addr, sizeof(addr));

	if (conn_err) {
		LOG_ERR("Failed to connect to %s (%u)", addr, conn_err);
		return;
	}

	LOG_INF("Connected: %s", addr);

	err = bt_gatt_dm_start(conn, BT_UUID_TMS, &discovery_cb, NULL);
	if (err) {
		LOG_ERR("Could not start service discovery, err %d", err);
	}
}

static struct bt_conn_cb conn_callbacks = {
	.connected = connected,
};

void scan_filter_match(struct bt_scan_device_info *device_info,
		       struct bt_scan_filter_match *filter_match,
		       bool connectable)
{
	char addr[BT_ADDR_LE_STR_LEN];

	bt_addr_le_to_str(device_info->recv_info->addr, addr, sizeof(addr));
	int counter = 0;
	LOG_INF("Device found: %s", addr);

	for (int i = 0; i < 20; i++) {
			/* Already saved. */
			if (!bt_addr_le_cmp(&subscribed_peers[i].addr,device_info->recv_info->addr)) 
				  {
						counter = i;
						subscribed_peers[counter].rssi_value = device_info->recv_info->rssi;
					//	LOG_INF("Device already subscribed: %s", addr);
						break;
			}
			/* Save data about new subscriber. */
			if (!bt_addr_le_cmp(&subscribed_peers[i].addr,BT_ADDR_LE_NONE)) 
			{
				bt_addr_le_copy(&subscribed_peers[i].addr,device_info->recv_info->addr);

			//	LOG_INF("Device not yet subscribed: %s", addr);
				counter = i;
				subscribed_peers[counter].rssi_value = device_info->recv_info->rssi;
				break;
			}
		}


    bt_data_parse(device_info->adv_data, find_adv_data, (void *)counter);

}

void scan_connecting_error(struct bt_scan_device_info *device_info)
{
	LOG_ERR("Connection to peer failed!");
}

BT_SCAN_CB_INIT(scan_cb, scan_filter_match, NULL, scan_connecting_error, NULL);

static void scan_start(void)
{
	int err;
	reset_subscribers();

	struct bt_le_scan_param scan_param = {
		.type = BT_LE_SCAN_TYPE_PASSIVE,
//		.options = BT_LE_SCAN_OPT_FILTER_ACCEPT_LIST, 
//		.options = BT_LE_SCAN_OPT_FILTER_DUPLICATE,
		.interval = 0x0010,
		.window = 0x0010,
		.timeout = 0,
	};

	struct bt_scan_init_param scan_init = {
		.connect_if_match = 0,
		.scan_param = &scan_param,
		.conn_param = BT_LE_CONN_PARAM_DEFAULT,
	};

	bt_scan_init(&scan_init);
	bt_scan_cb_register(&scan_cb);
	bt_scan_filter_remove_all();



    struct bt_scan_short_name ble_shrt_name;
	ble_shrt_name.name = "prst";
	ble_shrt_name.min_len = 4;

	err = bt_scan_filter_add(BT_SCAN_FILTER_TYPE_SHORT_NAME, &ble_shrt_name);
	if (err) {
		LOG_ERR("Scanning filters cannot be set (err %d)", err);
		return;
	}

	err = bt_scan_filter_enable(BT_SCAN_SHORT_NAME_FILTER, false);
	if (err) {
		LOG_ERR("Filters cannot be turned on");
	}

	err = bt_scan_start(BT_SCAN_TYPE_SCAN_ACTIVE);
	if (err) {
		LOG_ERR("Scanning failed to start, err %d", err);
	}

	LOG_INF("Scanning...");
}

static void ble_ready(int err)
{
	LOG_INF("Bluetooth ready");

	scan_start();
}

void ble_init(void)
{
	int err;

	LOG_INF("Initializing Bluetooth..");
	err = bt_enable(ble_ready);
	if (err) {
		LOG_ERR("Bluetooth init failed (err %d)", err);
		return;
	}
}
```
